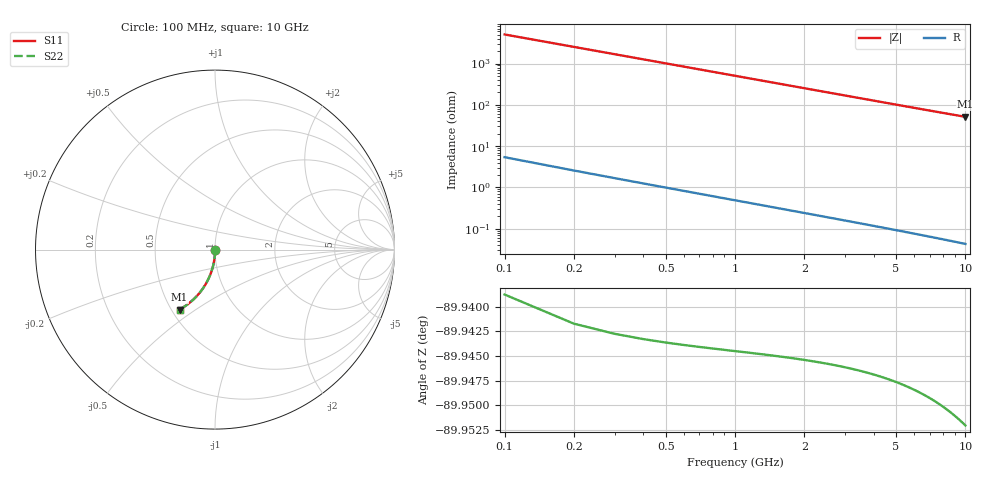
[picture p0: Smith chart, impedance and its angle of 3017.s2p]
# Hz S RI R 50.00
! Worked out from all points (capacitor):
!   100 points, 100 MHz to 10 GHz, reference 50 ohm
!   read as one part in shunt: C = 315 fF near 100 MHz
!   lowest |Z| = 51.3 ohm at 10 GHz (marker M1)
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1e8  0.000255 -0.00427  0.9997 -0.00561  0.9997 -0.00561  0.000255 -0.00427
2e8  0.00018 -0.00855  0.9996 -0.0112  0.9996 -0.0112  0.00018 -0.00855
3e8  5.71e-05 -0.0128  0.9995 -0.0168  0.9995 -0.0168  5.71e-05 -0.0128
4e8  -0.000114 -0.0171  0.9993 -0.0224  0.9993 -0.0224  -0.000114 -0.0171
5e8  -0.000334 -0.0214  0.9991 -0.028  0.9991 -0.028  -0.000334 -0.0214
6e8  -0.000601 -0.0256  0.9988 -0.0336  0.9988 -0.0336  -0.000601 -0.0256
7e8  -0.000916 -0.0299  0.9985 -0.0392  0.9985 -0.0392  -0.000916 -0.0299
8e8  -0.00128 -0.0341  0.9981 -0.0448  0.9981 -0.0448  -0.00128 -0.0341
9e8  -0.00169 -0.0384  0.9977 -0.0504  0.9977 -0.0504  -0.00169 -0.0384
1.1e9  -0.00265 -0.0469  0.9967 -0.0616  0.9967 -0.0616  -0.00265 -0.0469
1.4e9  -0.00445 -0.0595  0.9948 -0.0782  0.9948 -0.0782  -0.00445 -0.0595
1.8e9  -0.00751 -0.0763  0.9916 -0.1003  0.9916 -0.1003  -0.00751 -0.0763
2.1e9  -0.0103 -0.0888  0.9887 -0.1168  0.9887 -0.1168  -0.0103 -0.0888
2.5e9  -0.0146 -0.1052  0.9842 -0.1386  0.9842 -0.1386  -0.0146 -0.1052
2.9e9  -0.0197 -0.1213  0.979 -0.1601  0.979 -0.1601  -0.0197 -0.1213
3.4e9  -0.0269 -0.1411  0.9714 -0.1865  0.9714 -0.1865  -0.0269 -0.1411
4.2e9  -0.0407 -0.1716  0.9571 -0.2278  0.9571 -0.2278  -0.0407 -0.1716
5.1e9  -0.0591 -0.204  0.9379 -0.2723  0.9379 -0.2723  -0.0591 -0.204
5.9e9  -0.0778 -0.2307  0.9184 -0.3099  0.9184 -0.3099  -0.0778 -0.2307
6.7e9  -0.0984 -0.2555  0.8969 -0.3455  0.8969 -0.3455  -0.0984 -0.2555
8.4e9  -0.1472 -0.3007  0.8457 -0.4139  0.8457 -0.4139  -0.1472 -0.3007
1e10  -0.1976 -0.3337  0.7925 -0.469  0.7925 -0.469  -0.1976 -0.3337
